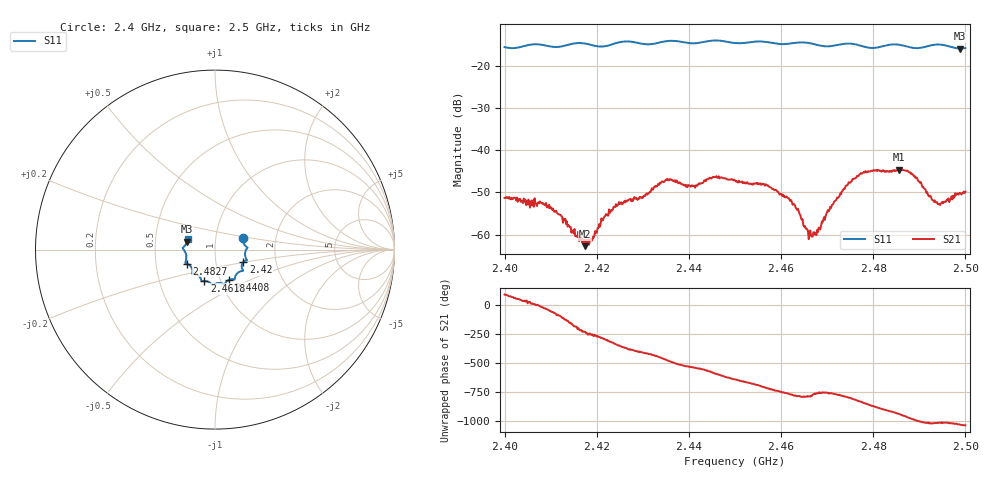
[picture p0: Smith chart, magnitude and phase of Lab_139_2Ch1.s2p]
# Hz S RI R 50
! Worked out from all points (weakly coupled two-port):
!   601 points, 2.4 GHz to 2.5 GHz, reference 50 ohm
!   highest |S21| = -44.55 dB at 2.4857 GHz (marker M1); lowest = -62.8 dB at 2.4175 GHz (marker M2)
!   lowest |S11| = -15.8 dB at 2.4988 GHz (marker M3), VSWR 1.39, Z = 36.4 + j3.33 ohm
!   |S11| at or under -10 dB: start of sweep to end of sweep
!   S12 and S22 are empty: the file has one direction only
!   S11 on the Smith chart (normalised r, x): 2.4 GHz: 1.36, +0.17; 2.42 GHz: 1.36, -0.19; 2.4408 GHz: 1.10, -0.39; 2.4618 GHz: 0.84, -0.30; 2.4827 GHz: 0.72, -0.12; 2.5 GHz: 0.73, +0.09
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2.4e9  0.1561 0.0621  -5.15e-05 0.00272  0 0  0 0
2.4095e9  0.1727 -0.00171  0.00151 -0.00144  0 0  0 0
2.416667e9  0.1779 -0.0595  -0.000735 0.000541  0 0  0 0
2.4175e9  0.1751 -0.0604  -0.000464 0.000561  0 0  0 0
2.42e9  0.1578 -0.0691  5.71e-05 0.00105  0 0  0 0
2.424333e9  0.1529 -0.11  0.00206 0.000671  0 0  0 0
2.433333e9  0.1119 -0.1521  0.000286 -0.00398  0 0  0 0
2.435833e9  0.1107 -0.166  -0.00267 -0.0037  0 0  0 0
2.440833e9  0.0788 -0.1689  -0.00379 -0.000192  0 0  0 0
2.4455e9  0.0524 -0.1944  -0.00312 0.00365  0 0  0 0
2.45e9  0.028 -0.1858  0.000953 0.00431  0 0  0 0
2.456667e9  -0.017 -0.1933  0.00393 0.000491  0 0  0 0
2.461833e9  -0.0601 -0.175  0.00174 -0.00194  0 0  0 0
2.466667e9  -0.0769 -0.1685  0.000397 -0.000857  0 0  0 0
2.475167e9  -0.1269 -0.1342  0.000392 -0.00422  0 0  0 0
2.482667e9  -0.1572 -0.078  -0.00564 0.000574  0 0  0 0
2.483333e9  -0.1615 -0.0764  -0.00547 0.00133  0 0  0 0
2.485667e9  -0.1647 -0.0704  -0.0044 0.00397  0 0  0 0
2.488833e9  -0.1596 -0.0385  4.98e-05 0.00492  0 0  0 0
2.494e9  -0.1803 0.00827  0.00102 0.00205  0 0  0 0
2.498833e9  -0.1552 0.0445  0.00213 0.00228  0 0  0 0
2.5e9  -0.152 0.0615  0.00246 0.0021  0 0  0 0
